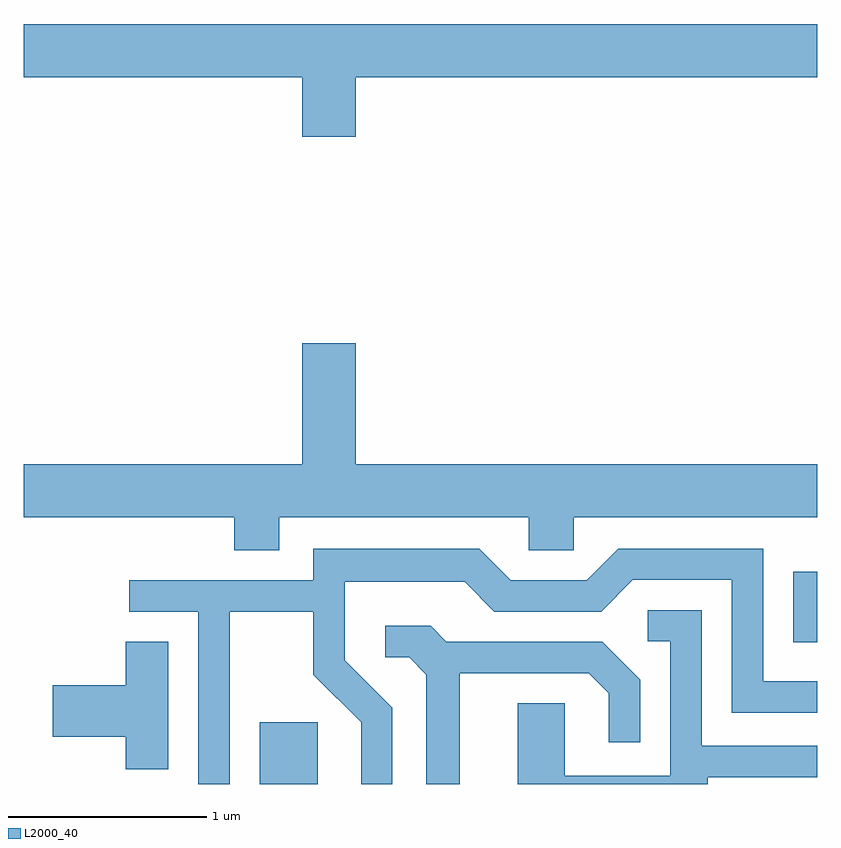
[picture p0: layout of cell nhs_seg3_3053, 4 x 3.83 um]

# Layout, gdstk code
import gdstk
lib = gdstk.Library(unit=1e-6, precision=1e-09)
def R(c, l, rs):  # rectangles x0, y0, x1, y1
    for r in rs: c.add(gdstk.rectangle(r[:2], r[2:], *l))
def P(c, l, *ps):  # polygons
    for p in ps: c.add(gdstk.Polygon(p, *l))
L2000_40 = (2000, 40)

nhs_seg3_3053 = lib.new_cell('nhs_seg3_3053')
R(nhs_seg3_3053, L2000_40, [(274.801,1237.892,275.094,1238.204), (277.491,1238.606,277.611,1238.963)])
P(nhs_seg3_3053, L2000_40, [(275.284,1241.456),(277.611,1241.456),(277.611,1241.724),(273.611,1241.724),(273.611,1241.456),(275.016,1241.456),(275.016,1241.156),(275.284,1241.156)],
  [(274.899,1239.236),(276.156,1239.236),(276.156,1239.071),(276.384,1239.071),(276.384,1239.236),(277.611,1239.236),(277.611,1239.504),(275.284,1239.504),(275.284,1240.114),(275.016,1240.114),(275.016,1239.504),(273.611,1239.504),(273.611,1239.236),(274.671,1239.236),(274.671,1239.071),(274.899,1239.071)],
  [(274.649,1238.761),(275.071,1238.761),(275.071,1238.444),(275.311,1238.204),(275.311,1237.892),(275.469,1237.892),(275.469,1238.277),(275.229,1238.517),(275.229,1238.911),(275.834,1238.911),(275.984,1238.761),(276.522,1238.761),(276.682,1238.921),(277.181,1238.921),(277.181,1238.251),(277.611,1238.251),(277.611,1238.409),(277.339,1238.409),(277.339,1239.079),(276.609,1239.079),(276.449,1238.919),(276.067,1238.919),(275.907,1239.079),(275.071,1239.079),(275.071,1238.919),(274.143,1238.919),(274.143,1238.761),(274.491,1238.761),(274.491,1237.892),(274.649,1237.892)],
  [(277.059,1237.926),(277.611,1237.926),(277.611,1238.084),(277.029,1238.084),(277.029,1238.769),(276.758,1238.769),(276.758,1238.611),(276.871,1238.611),(276.871,1237.934),(276.339,1237.934),(276.339,1238.299),(276.101,1238.299),(276.101,1237.892),(277.059,1237.892)],
  [(275.809,1238.451),(276.459,1238.451),(276.561,1238.349),(276.561,1238.103),(276.719,1238.103),(276.719,1238.417),(276.527,1238.609),(275.742,1238.609),(275.662,1238.689),(275.433,1238.689),(275.433,1238.531),(275.554,1238.531),(275.641,1238.444),(275.641,1237.892),(275.809,1237.892)],
  [(274.339,1238.609),(274.126,1238.609),(274.126,1238.389),(273.756,1238.389),(273.756,1238.131),(274.126,1238.131),(274.126,1237.966),(274.339,1237.966)])

lib.write_gds('nhs_seg3_3053.gds')
